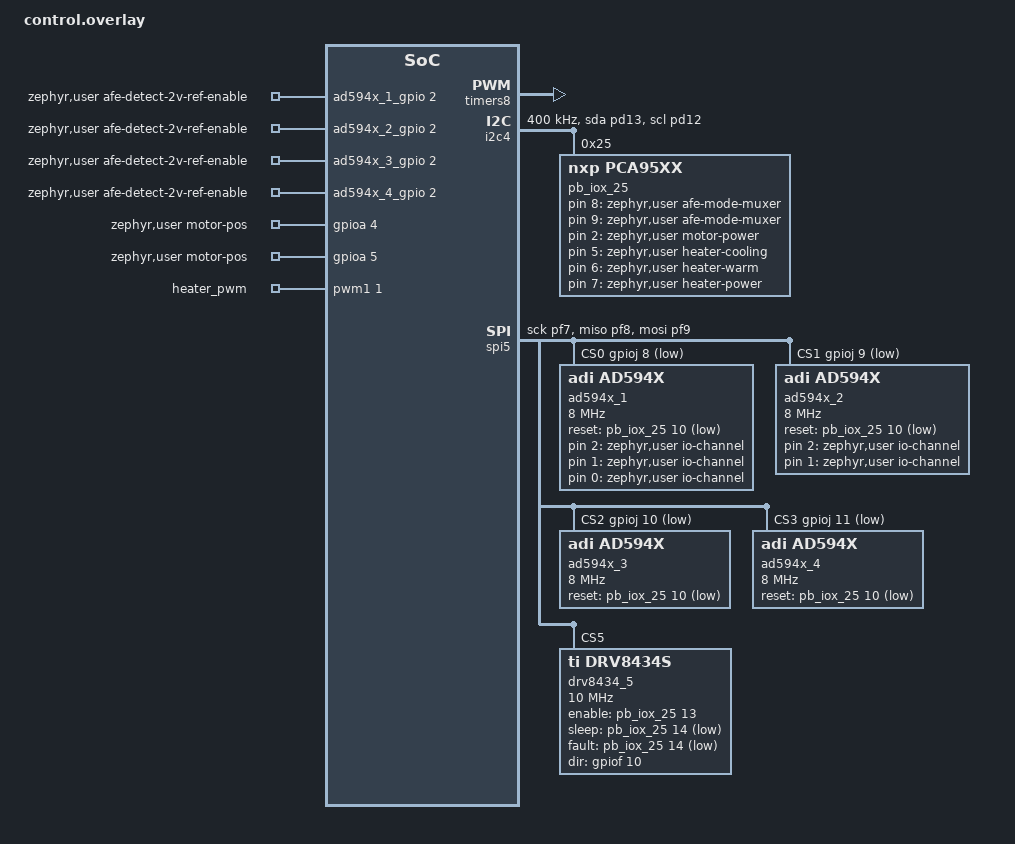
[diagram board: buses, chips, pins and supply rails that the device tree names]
#include <dt-bindings/gpio/gpio_ad594x.h>

/ {
    zephyr,user {
        io-channels =   <0>,     //AFE channel 1 not connected to any ADC.
        <0>,             //AFE channel 2 not connected to any ADC.
        <0>,             //AFE channel 3 not connected to any ADC.
        <&ad594x_1 2>,   //AFE channel 4.
        <&ad594x_1 1>,   //AFE channel 5.
        <&ad594x_1 0>,   //AFE channel 6.
        <&ad594x_2 2>,   //AFE channel 7.
        <&ad594x_2 1>,   //AFE channel 8.
        <&ad594x_2 0>,   //AFE channel 9.
        <&ad594x_3 2>,   //AFE channel 10.
        <&ad594x_3 1>,   //AFE channel 11.
        <&ad594x_3 0>,   //AFE channel 12.
        <&ad594x_4 2>,   //AFE channel 13.
        <&ad594x_4 1>,   //AFE channel 14.
        <&ad594x_4 0>    //AFE channel 15.
        ;

        afe-detect-adc-channel = <11>;
        afe-mode-muxer-gpios = <&pb_iox_25 8 GPIO_ACTIVE_HIGH>,
                               <&pb_iox_25 9 GPIO_ACTIVE_HIGH>;
        afe-detect-2v-ref-enable-gpios = <&ad594x_1_gpio 2 (GPIO_ACTIVE_HIGH|AD594X_MODE_EXT_SYNC)>,
                                         <&ad594x_2_gpio 2 (GPIO_ACTIVE_HIGH|AD594X_MODE_EXT_SYNC)>,
                                         <&ad594x_3_gpio 2 (GPIO_ACTIVE_HIGH|AD594X_MODE_EXT_SYNC)>,
                                         <&ad594x_4_gpio 2 (GPIO_ACTIVE_HIGH|AD594X_MODE_EXT_SYNC)>;

        motor-power-gpios = <&pb_iox_25 2 GPIO_ACTIVE_HIGH>;
        motor-pos-gpios = <&gpioa 4 GPIO_ACTIVE_HIGH>,
                          <&gpioa 5 GPIO_ACTIVE_HIGH>;
        motor-ctl = &drv8435_5;

        heater-thermistor-channel = <6>;
        heater-cooling-gpios = <&pb_iox_25 5 GPIO_ACTIVE_HIGH>;
        heater-warm-gpios = <&pb_iox_25 6 GPIO_ACTIVE_HIGH>;
        heater-power-gpios = <&pb_iox_25 7 GPIO_ACTIVE_HIGH>;
        heater-thermistor-adc = &adc1;
        heater-pwm = &heater_pwm;
    };

    heater {
        compatible = "pwm-leds";
        heater_pwm: heater_pwm {
            pwms = <&pwm1 1 0 PWM_POLARITY_NORMAL>;
        };
    };

};

&timers8 {
    status = "okay";

    pwm8: pwm {
        status = "okay";
        pinctrl-0 = <&tim8_ch4_pc9>;
        st,prescaler = <215>; // Sets PWM frequency to 1 MHz
    };
};

&i2c4 {
    status = "okay";
    pinctrl-0 = <&i2c4_sda_pd13 &i2c4_scl_pd12>;
    clock-frequency = <I2C_BITRATE_FAST>;

    pb_iox_25: pca9535@25 {
        compatible = "nxp,pca95xx";
        reg = <0x25>;
        #gpio-cells = <2>;
        gpio-controller;

        status = "okay";
    };
};

&spi5 {
    status = "okay";
    pinctrl-0 = <&spi5_sck_pf7 &spi5_miso_pf8 &spi5_mosi_pf9>;
    cs-gpios = <&gpioj 8 GPIO_ACTIVE_LOW>,
               <&gpioj 9 GPIO_ACTIVE_LOW>,
               <&gpioj 10 GPIO_ACTIVE_LOW>,
               <&gpioj 11 GPIO_ACTIVE_LOW>,
               <&gpioe 12 GPIO_ACTIVE_LOW>;

    ad594x_1: ad594x_1@0 {
        compatible = "adi,ad594x";
        status = "okay";
        reg = <0x0>;
        spi-max-frequency = <8000000>; // 8 MHz
        #io-channel-cells = <1>;
        reset-gpios = <&pb_iox_25 10 GPIO_ACTIVE_LOW>;

        ad594x_1_gpio: gpio {
            compatible = "adi,ad594x-gpio";
            status = "okay";
            gpio-controller;
            #gpio-cells = <2>;
        };
    };

    ad594x_2: ad594x_2@1 {
        compatible = "adi,ad594x";
        status = "okay";
        reg = <0x1>;
        spi-max-frequency = <8000000>; // 8 MHz
        #io-channel-cells = <1>;
        reset-gpios = <&pb_iox_25 10 GPIO_ACTIVE_LOW>;

        ad594x_2_gpio: gpio {
            compatible = "adi,ad594x-gpio";
            status = "okay";
            gpio-controller;
            #gpio-cells = <2>;
        };
    };

    ad594x_3: ad594x_3@2 {
        compatible = "adi,ad594x";
        status = "okay";
        reg = <0x2>;
        spi-max-frequency = <8000000>; // 8 MHz
        #io-channel-cells = <1>;
        reset-gpios = <&pb_iox_25 10 GPIO_ACTIVE_LOW>;

        ad594x_3_gpio: gpio {
            compatible = "adi,ad594x-gpio";
            status = "okay";
            gpio-controller;
            #gpio-cells = <2>;
        };
    };

    ad594x_4: ad594x_4@3 {
        compatible = "adi,ad594x";
        status = "okay";
        reg = <0x3>;
        spi-max-frequency = <8000000>; // 8 MHz
        #io-channel-cells = <1>;
        reset-gpios = <&pb_iox_25 10 GPIO_ACTIVE_LOW>;

        ad594x_4_gpio: gpio {
            compatible = "adi,ad594x-gpio";
            status = "okay";
            gpio-controller;
            #gpio-cells = <2>;
        };
    };

    drv8434_5: ti8434@5 {
        status = "okay";
        compatible = "ti,drv8434s";
        reg = <5>;

        spi-max-frequency = <10000000>;

        enable-gpios = <&pb_iox_25 13 GPIO_ACTIVE_HIGH>;    /* PB_MOT_nEN1 */
        sleep-gpios = <&pb_iox_25 14 GPIO_ACTIVE_LOW>;    /* PB_MOT_nSLEEP1 */
        fault-gpios = <&pb_iox_25 14 GPIO_ACTIVE_LOW>;    /* PB_MOT_nFAULT1 */
        dir-gpios = <&gpiof 10 GPIO_ACTIVE_HIGH>;

    };

    &adc1 {
        status = "okay";
        pinctrl-0 = <&adc1_in6_pa6>;
    };

    &timers1 {
        status = "okay";

        pwm1: pwm {
            status = "okay";
            pinctrl-0 = <&tim1_ch1_pa8>;
            st,prescaler = <9>; // Sets PWM frequency to 21.6 MHz
        };
    };
